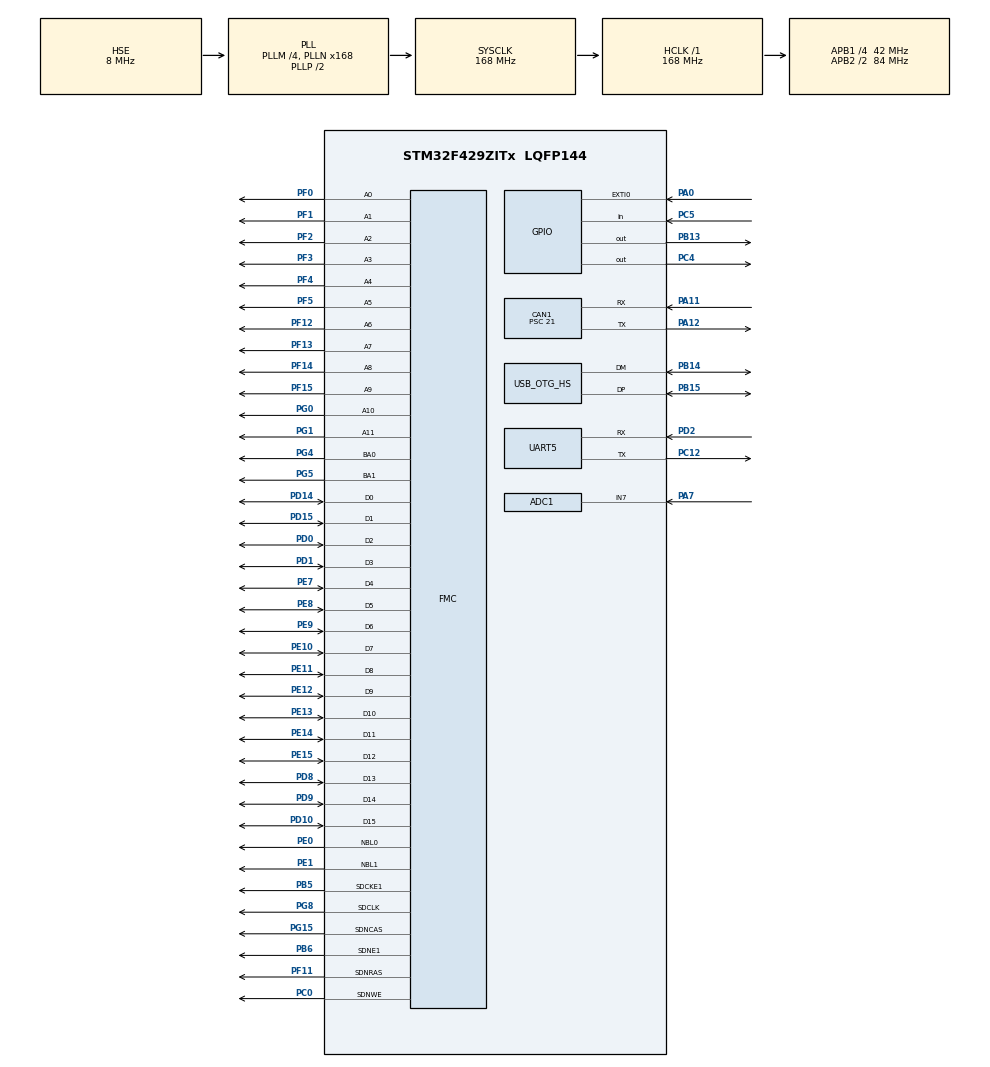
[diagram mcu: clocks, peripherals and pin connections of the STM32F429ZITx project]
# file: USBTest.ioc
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ADC1.Channel-0\#ChannelRegularConversion=ADC_CHANNEL_7
ADC1.ContinuousConvMode=ENABLE
ADC1.DMAContinuousRequests=ENABLE
ADC1.NbrOfConversionFlag=1
ADC1.Rank-0\#ChannelRegularConversion=1
ADC1.SamplingTime-0\#ChannelRegularConversion=ADC_SAMPLETIME_28CYCLES
ADC1.master=1
CAN1.BS1=CAN_BS1_6TQ
CAN1.CalculateBaudRate=250000
CAN1.CalculateTimeBit=4000.00
CAN1.CalculateTimeQuantum=500.0
CAN1.Prescaler=21
Dma.ADC1.0.Direction=DMA_PERIPH_TO_MEMORY
Dma.ADC1.0.FIFOMode=DMA_FIFOMODE_DISABLE
Dma.ADC1.0.Instance=DMA2_Stream0
Dma.ADC1.0.MemDataAlignment=DMA_MDATAALIGN_HALFWORD
Dma.ADC1.0.MemInc=DMA_MINC_ENABLE
Dma.ADC1.0.Mode=DMA_CIRCULAR
Dma.ADC1.0.PeriphDataAlignment=DMA_PDATAALIGN_HALFWORD
Dma.ADC1.0.PeriphInc=DMA_PINC_DISABLE
Dma.ADC1.0.Priority=DMA_PRIORITY_LOW
Dma.Request0=ADC1
FATFS._MAX_SS=512
FMC.CASLatency1=FMC_SDRAM_CAS_LATENCY_3
FMC.ExitSelfRefreshDelay1=7
FMC.LoadToActiveDelay1=2
FMC.RCDDelay1=2
FMC.RPDelay1=2
FMC.ReadPipeDelay1=FMC_SDRAM_RPIPE_DELAY_1
FMC.RowCycleDelay1=6
FMC.SDClockPeriod1=FMC_SDRAM_CLOCK_PERIOD_2
FMC.SelfRefreshTime1=4
FMC.WriteRecoveryTime1=2
Mcu.Family=STM32F4
Mcu.Name=STM32F429ZITx
Mcu.Package=LQFP144
NVIC.CAN1_RX0_IRQn=true\:0\:0\:false\:false\:true\:true\:true
NVIC.DMA2_Stream0_IRQn=true\:0\:0\:false\:false\:true\:false\:true
NVIC.EXTI0_IRQn=true\:0\:0\:false\:false\:true\:true\:true
NVIC.OTG_HS_IRQn=true\:0\:0\:false\:false\:true\:false\:true
NVIC.PriorityGroup=NVIC_PRIORITYGROUP_4
NVIC.TIM7_IRQn=true\:0\:0\:false\:false\:true\:true\:true
PA0/WKUP.Signal=GPXTI0
PA11.Mode=CAN_Activate
PA11.Signal=CAN1_RX
PA12.Mode=CAN_Activate
PA12.Signal=CAN1_TX
PA7.Signal=ADCx_IN7
PB13.Signal=GPIO_Output
PB14.Mode=Host_FS
PB14.Signal=USB_OTG_HS_DM
PB15.Mode=Host_FS
PB15.Signal=USB_OTG_HS_DP
PB5.Mode=SdramChipSelect2_1
PB5.Signal=FMC_SDCKE1
PB6.Mode=SdramChipSelect2_1
PB6.Signal=FMC_SDNE1
PC0.Signal=FMC_SDNWE
PC12.Mode=Asynchronous
PC12.Signal=UART5_TX
PC14/OSC32_IN.Mode=LSE-External-Oscillator
PC14/OSC32_IN.Signal=RCC_OSC32_IN
PC15/OSC32_OUT.Mode=LSE-External-Oscillator
PC15/OSC32_OUT.Signal=RCC_OSC32_OUT
PC4.Signal=GPIO_Output
PC5.Signal=GPIO_Input
PD0.Signal=FMC_D2_DA2
PD1.Signal=FMC_D3_DA3
PD10.Signal=FMC_D15_DA15
PD14.Signal=FMC_D0_DA0
PD15.Signal=FMC_D1_DA1
PD2.Mode=Asynchronous
PD2.Signal=UART5_RX
PD8.Signal=FMC_D13_DA13
PD9.Signal=FMC_D14_DA14
PE0.Signal=FMC_NBL0
PE1.Signal=FMC_NBL1
PE10.Signal=FMC_D7_DA7
PE11.Signal=FMC_D8_DA8
PE12.Signal=FMC_D9_DA9
PE13.Signal=FMC_D10_DA10
PE14.Signal=FMC_D11_DA11
PE15.Signal=FMC_D12_DA12
PE7.Signal=FMC_D4_DA4
PE8.Signal=FMC_D5_DA5
PE9.Signal=FMC_D6_DA6
PF0.Signal=FMC_A0
PF1.Signal=FMC_A1
PF11.Signal=FMC_SDNRAS
PF12.Signal=FMC_A6
PF13.Signal=FMC_A7
PF14.Signal=FMC_A8
PF15.Signal=FMC_A9
PF2.Signal=FMC_A2
PF3.Signal=FMC_A3
PF4.Signal=FMC_A4
PF5.Signal=FMC_A5
PG0.Signal=FMC_A10
PG1.Signal=FMC_A11
PG15.Signal=FMC_SDNCAS
PG4.Signal=FMC_A14_BA0
PG5.Signal=FMC_A15_BA1
PG8.Signal=FMC_SDCLK
PH0/OSC_IN.Mode=HSE-External-Oscillator
PH0/OSC_IN.Signal=RCC_OSC_IN
PH1/OSC_OUT.Mode=HSE-External-Oscillator
PH1/OSC_OUT.Signal=RCC_OSC_OUT
ProjectManager.HeapSize=0x400
ProjectManager.StackSize=0x800
ProjectManager.TargetToolchain=STM32CubeIDE
RCC.48MHZClocksFreq_Value=48000000
RCC.AHBFreq_Value=168000000
RCC.APB1CLKDivider=RCC_HCLK_DIV4
RCC.APB1Freq_Value=42000000
RCC.APB1TimFreq_Value=84000000
RCC.APB2CLKDivider=RCC_HCLK_DIV2
RCC.APB2Freq_Value=84000000
RCC.APB2TimFreq_Value=168000000
RCC.CortexFreq_Value=168000000
RCC.HCLKFreq_Value=168000000
RCC.HSE_VALUE=8000000
RCC.HSI_VALUE=16000000
RCC.PLLM=4
RCC.PLLN=168
RCC.PLLQ=7
RCC.SYSCLKFreq_VALUE=168000000
RCC.SYSCLKSource=RCC_SYSCLKSOURCE_PLLCLK
RCC.VCOOutputFreq_Value=336000000
SH.ADCx_IN7.0=ADC1_IN7,IN7
SH.FMC_A0.0=FMC_A0,12b-sda1
SH.FMC_A1.0=FMC_A1,12b-sda1
SH.FMC_A10.0=FMC_A10,12b-sda1
SH.FMC_A11.0=FMC_A11,12b-sda1
SH.FMC_A14_BA0.0=FMC_BA0,FourSdramBanks1
SH.FMC_A15_BA1.0=FMC_BA1,FourSdramBanks1
SH.FMC_A2.0=FMC_A2,12b-sda1
SH.FMC_A3.0=FMC_A3,12b-sda1
SH.FMC_A4.0=FMC_A4,12b-sda1
SH.FMC_A5.0=FMC_A5,12b-sda1
SH.FMC_A6.0=FMC_A6,12b-sda1
SH.FMC_A7.0=FMC_A7,12b-sda1
SH.FMC_A8.0=FMC_A8,12b-sda1
SH.FMC_A9.0=FMC_A9,12b-sda1
SH.FMC_D0_DA0.0=FMC_D0,sd-16b-d1
SH.FMC_D10_DA10.0=FMC_D10,sd-16b-d1
SH.FMC_D11_DA11.0=FMC_D11,sd-16b-d1
SH.FMC_D12_DA12.0=FMC_D12,sd-16b-d1
SH.FMC_D13_DA13.0=FMC_D13,sd-16b-d1
SH.FMC_D14_DA14.0=FMC_D14,sd-16b-d1
SH.FMC_D15_DA15.0=FMC_D15,sd-16b-d1
SH.FMC_D1_DA1.0=FMC_D1,sd-16b-d1
SH.FMC_D2_DA2.0=FMC_D2,sd-16b-d1
SH.FMC_D3_DA3.0=FMC_D3,sd-16b-d1
SH.FMC_D4_DA4.0=FMC_D4,sd-16b-d1
SH.FMC_D5_DA5.0=FMC_D5,sd-16b-d1
SH.FMC_D6_DA6.0=FMC_D6,sd-16b-d1
SH.FMC_D7_DA7.0=FMC_D7,sd-16b-d1
SH.FMC_D8_DA8.0=FMC_D8,sd-16b-d1
SH.FMC_D9_DA9.0=FMC_D9,sd-16b-d1
SH.FMC_NBL0.0=FMC_NBL0,Sd2ByteEnable1
SH.FMC_NBL1.0=FMC_NBL1,Sd2ByteEnable1
SH.FMC_SDCLK.0=FMC_SDCLK,12b-sda1
SH.FMC_SDNCAS.0=FMC_SDNCAS,12b-sda1
SH.FMC_SDNRAS.0=FMC_SDNRAS,12b-sda1
SH.FMC_SDNWE.0=FMC_SDNWE,12b-sda1
TIM7.Period=8499
TIM7.Prescaler=9
UART5.VirtualMode=Asynchronous
USB_HOST.BSP.number=1
USB_HOST.USBH_HandleTypeDef-MSC_HS=hUsbHostHS
USB_HOST.VirtualModeHS=Msc
USB_HOST0.BSP.STBoard=false
USB_HOST0.BSP.api=Unknown
USB_HOST0.BSP.i2caddr=0
USB_HOST0.BSP.instance=PB13
USB_HOST0.BSP.ip=GPIO
USB_HOST0.BSP.mode=Output
USB_HOST0.BSP.name=Drive_VBUS_HS
USB_HOST0.BSP.solution=PB13
USB_OTG_HS.VirtualMode-Host_FS=Host_FS
VP_FATFS_VS_USB.Mode=USB
VP_TIM7_VS_ClockSourceINT.Mode=Enable_Timer
VP_USB_HOST_VS_USB_HOST_MSC_HS.Mode=MSC_HS
board=custom

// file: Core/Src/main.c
/* USER CODE BEGIN Header */
/**
 ******************************************************************************
 * @file           : main.c
 * @brief          : Main program body
 ******************************************************************************
 * @attention
 *
 * <h2><center>&copy; Copyright (c) 2021 STMicroelectronics.
 * All rights reserved.</center></h2>
 *
 * This software component is licensed by ST under BSD 3-Clause license,
 * the "License"; You may not use this file except in compliance with the
 * License. You may obtain a copy of the License at:
 *                        opensource.org/licenses/BSD-3-Clause
 *
 ******************************************************************************
 */

#include <stdio.h>
#include <string.h>

/* USER CODE END Header */
#include "main.h"
#include "fatfs.h"
#include "usb_host.h"

/* USER CODE BEGIN PD */
#define SDRAM_FRAME_BUFFER 0xD0000000

#define SDRAM_MODEREG_BURST_LENGTH_1             ((uint16_t)0x0000)
#define SDRAM_MODEREG_BURST_LENGTH_2             ((uint16_t)0x0001)
#define SDRAM_MODEREG_BURST_LENGTH_4             ((uint16_t)0x0002)
#define SDRAM_MODEREG_BURST_LENGTH_8             ((uint16_t)0x0004)
#define SDRAM_MODEREG_BURST_TYPE_SEQUENTIAL      ((uint16_t)0x0000)
#define SDRAM_MODEREG_BURST_TYPE_INTERLEAVED     ((uint16_t)0x0008)
#define SDRAM_MODEREG_CAS_LATENCY_2              ((uint16_t)0x0020)
#define SDRAM_MODEREG_CAS_LATENCY_3              ((uint16_t)0x0030)
#define SDRAM_MODEREG_OPERATING_MODE_STANDARD    ((uint16_t)0x0000)
#define SDRAM_MODEREG_WRITEBURST_MODE_PROGRAMMED ((uint16_t)0x0000)
#define SDRAM_MODEREG_WRITEBURST_MODE_SINGLE     ((uint16_t)0x0200)

/* USER CODE END PD */

ADC_HandleTypeDef hadc1;
DMA_HandleTypeDef hdma_adc1;

CAN_HandleTypeDef hcan1;

TIM_HandleTypeDef htim7;

UART_HandleTypeDef huart5;

SDRAM_HandleTypeDef hsdram1;

void SystemClock_Config(void);
static void MX_GPIO_Init(void);
static void MX_ADC1_Init(void);
static void MX_UART5_Init(void);
static void MX_DMA_Init(void);
static void MX_TIM7_Init(void);
static void MX_CAN1_Init(void);
static void MX_FMC_Init(void);
void MX_USB_HOST_Process(void);

/* USER CODE BEGIN 0 */
int __io_putchar(int ch)
{
    if(HAL_UART_Transmit(&huart5, (uint8_t *)&ch, 1, 10) == 0)
        return ch;

    return -1;
}

extern char USBHPath[4];   /* USBH logical drive path */
extern FATFS USBHFatFS;    /* File system object for USBH logical drive */
// extern FIL USBHFile;       /* File object for USBH */
extern ApplicationTypeDef Appli_state;

int usb_mount(void)
{
    FRESULT result = f_mount(&USBHFatFS, USBHPath, 0);
    if(result != FR_OK)
    {
        printf("ERROR :: %s() : f_mount() fail\r\n", __func__);
        return -1;
    }

    printf("INFO :: %s() : mount_path = [%s]\r\n", __func__, USBHPath);
    return 0;
}

int usb_unmount(void)
{
    FRESULT result = f_mount(NULL, "", 0);
    if(result != FR_OK)
    {
        printf("ERROR :: %s() : f_mount() fail\r\n", __func__);
        return -1;
    }

    printf("INFO :: %s()\r\n", __func__);
    return 0;
}

int usb_read_background_image(uint8_t img_type, uint8_t *buf, uint32_t *length)
{
    char file_path[256] = {0, };

    FRESULT result;
    FILINFO file_info;
    FIL     fp;

    if(Appli_state != APPLICATION_READY)
    {
        printf("ERROR :: %s() : appli_state = %d\r\n", __func__, Appli_state);
        return -1;
    }

    if(img_type == 0) sprintf(file_path, "%sbg.png", USBHPath);
    else              sprintf(file_path, "%slogo.png", USBHPath);

    printf("INFO :: %s() : file_path = [%s]\r\n", __func__, file_path);
    f_stat(file_path, &file_info);
    printf("  size = %ld\r\n", file_info.fsize);
    // printf("  date = 0x%04x\r\n", file_info.fdate);
    // printf("  time = 0x%04x\r\n", file_info.ftime);
    printf("  name = [%s]\r\n", file_info.fname);

    memset(&fp, 0x00, sizeof(FIL));
    if((result = f_open(&fp, file_path, FA_READ)) != FR_OK)
    {
        printf("ERROR :: %s() : f_open() fail : result = %d, file_path = [%s]\r\n", __func__, result, file_path);
        return -1;
    }
    printf("  flag = 0x%x\r\n", fp.flag);

    if((result = f_read(&fp, buf, file_info.fsize, (UINT *)length)) != FR_OK)
    {
        printf("ERROR :: %s() : f_read() fail : result = %d\r\n", __func__, result);
        goto rtn_code;
    }
    printf("  read = %ld, fptr = %lx\r\n", *length, fp.fptr);
    for(int i = 0 ; i < 16 ; i++) printf("0x%02X, ", buf[i]);
    printf("\b\b\r\n");

rtn_code:
    if(fp.flag != 0) f_close(&fp);
    return 0;
}
/* USER CODE END 0 */

int main(void)
{

    /* MCU Configuration--------------------------------------------------------*/

    /* Reset of all peripherals, Initializes the Flash interface and the Systick. */
    HAL_Init();

    /* Configure the system clock */
    SystemClock_Config();

    /* Initialize all configured peripherals */
    MX_GPIO_Init();
    MX_ADC1_Init();
    MX_UART5_Init();
    MX_DMA_Init();
    MX_TIM7_Init();
    MX_CAN1_Init();
    MX_USB_HOST_Init();
    MX_FATFS_Init();
    MX_FMC_Init();
    /* USER CODE BEGIN 2 */

    // HAL_ADC_Start_DMA(&hadc1, (uint32_t *)&adc_val, 1);
    HAL_TIM_Base_Start_IT(&htim7);
    /* USER CODE END 2 */

    /* Infinite loop */
    /* USER CODE BEGIN WHILE */
    uint8_t is_read = 0;
    printf("USBTest start...\r\n");
    HAL_GPIO_WritePin(GPIOC, GPIO_PIN_4, GPIO_PIN_RESET);
    while (1)
    {
        /* USER CODE END WHILE */
        MX_USB_HOST_Process();

        /* USER CODE BEGIN 3 */
        // printf("state = %d\r\n", Appli_state);
        if(Appli_state == APPLICATION_READY)
        {
            if(is_read == 0)
            {
                uint8_t *buff   = (uint8_t *)0xD0000000;
                uint32_t length = 0;

                usb_read_background_image(0, buff, &length);
                is_read = 1;
            }
        }
        HAL_Delay(100);
    }
    /* USER CODE END 3 */
}

void SystemClock_Config(void)
{
    RCC_OscInitTypeDef RCC_OscInitStruct = {0};
    RCC_ClkInitTypeDef RCC_ClkInitStruct = {0};

    /** Configure the main internal regulator output voltage
    */
    __HAL_RCC_PWR_CLK_ENABLE();
    __HAL_PWR_VOLTAGESCALING_CONFIG(PWR_REGULATOR_VOLTAGE_SCALE1);
    /** Initializes the RCC Oscillators according to the specified parameters
     * in the RCC_OscInitTypeDef structure.
     */
    RCC_OscInitStruct.OscillatorType = RCC_OSCILLATORTYPE_HSE;
    RCC_OscInitStruct.HSEState = RCC_HSE_ON;
    RCC_OscInitStruct.PLL.PLLState = RCC_PLL_ON;
    RCC_OscInitStruct.PLL.PLLSource = RCC_PLLSOURCE_HSE;
    RCC_OscInitStruct.PLL.PLLM = 4;
    RCC_OscInitStruct.PLL.PLLN = 168;
    RCC_OscInitStruct.PLL.PLLP = RCC_PLLP_DIV2;
    RCC_OscInitStruct.PLL.PLLQ = 7;
    if (HAL_RCC_OscConfig(&RCC_OscInitStruct) != HAL_OK)
    {
        Error_Handler();
    }
    /** Initializes the CPU, AHB and APB buses clocks
    */
    RCC_ClkInitStruct.ClockType = RCC_CLOCKTYPE_HCLK|RCC_CLOCKTYPE_SYSCLK
        |RCC_CLOCKTYPE_PCLK1|RCC_CLOCKTYPE_PCLK2;
    RCC_ClkInitStruct.SYSCLKSource = RCC_SYSCLKSOURCE_PLLCLK;
    RCC_ClkInitStruct.AHBCLKDivider = RCC_SYSCLK_DIV1;
    RCC_ClkInitStruct.APB1CLKDivider = RCC_HCLK_DIV4;
    RCC_ClkInitStruct.APB2CLKDivider = RCC_HCLK_DIV2;

    if (HAL_RCC_ClockConfig(&RCC_ClkInitStruct, FLASH_LATENCY_5) != HAL_OK)
    {
        Error_Handler();
    }
}

static void MX_ADC1_Init(void)
{

    ADC_ChannelConfTypeDef sConfig = {0};

    /** Configure the global features of the ADC (Clock, Resolution, Data Alignment and number of conversion)
    */
    hadc1.Instance = ADC1;
    hadc1.Init.ClockPrescaler = ADC_CLOCK_SYNC_PCLK_DIV4;
    hadc1.Init.Resolution = ADC_RESOLUTION_12B;
    hadc1.Init.ScanConvMode = DISABLE;
    hadc1.Init.ContinuousConvMode = ENABLE;
    hadc1.Init.DiscontinuousConvMode = DISABLE;
    hadc1.Init.ExternalTrigConvEdge = ADC_EXTERNALTRIGCONVEDGE_NONE;
    hadc1.Init.ExternalTrigConv = ADC_SOFTWARE_START;
    hadc1.Init.DataAlign = ADC_DATAALIGN_RIGHT;
    hadc1.Init.NbrOfConversion = 1;
    hadc1.Init.DMAContinuousRequests = ENABLE;
    hadc1.Init.EOCSelection = ADC_EOC_SINGLE_CONV;
    if (HAL_ADC_Init(&hadc1) != HAL_OK)
    {
        Error_Handler();
    }
    /** Configure for the selected ADC regular channel its corresponding rank in the sequencer and its sample time.
    */
    sConfig.Channel = ADC_CHANNEL_7;
    sConfig.Rank = 1;
    sConfig.SamplingTime = ADC_SAMPLETIME_28CYCLES;
    if (HAL_ADC_ConfigChannel(&hadc1, &sConfig) != HAL_OK)
    {
        Error_Handler();
    }

}

static void MX_CAN1_Init(void)
{

    hcan1.Instance = CAN1;
    hcan1.Init.Prescaler = 21;
    hcan1.Init.Mode = CAN_MODE_NORMAL;
    hcan1.Init.SyncJumpWidth = CAN_SJW_1TQ;
    hcan1.Init.TimeSeg1 = CAN_BS1_6TQ;
    hcan1.Init.TimeSeg2 = CAN_BS2_1TQ;
    hcan1.Init.TimeTriggeredMode = DISABLE;
    hcan1.Init.AutoBusOff = DISABLE;
    hcan1.Init.AutoWakeUp = DISABLE;
    hcan1.Init.AutoRetransmission = DISABLE;
    hcan1.Init.ReceiveFifoLocked = DISABLE;
    hcan1.Init.TransmitFifoPriority = DISABLE;
    if (HAL_CAN_Init(&hcan1) != HAL_OK)
    {
        Error_Handler();
    }

}

static void MX_TIM7_Init(void)
{

    TIM_MasterConfigTypeDef sMasterConfig = {0};

    htim7.Instance = TIM7;
    htim7.Init.Prescaler = 9;
    htim7.Init.CounterMode = TIM_COUNTERMODE_UP;
    htim7.Init.Period = 8499;
    htim7.Init.AutoReloadPreload = TIM_AUTORELOAD_PRELOAD_DISABLE;
    if (HAL_TIM_Base_Init(&htim7) != HAL_OK)
    {
        Error_Handler();
    }
    sMasterConfig.MasterOutputTrigger = TIM_TRGO_RESET;
    sMasterConfig.MasterSlaveMode = TIM_MASTERSLAVEMODE_DISABLE;
    if (HAL_TIMEx_MasterConfigSynchronization(&htim7, &sMasterConfig) != HAL_OK)
    {
        Error_Handler();
    }

}

static void MX_UART5_Init(void)
{

    huart5.Instance = UART5;
    huart5.Init.BaudRate = 115200;
    huart5.Init.WordLength = UART_WORDLENGTH_8B;
    huart5.Init.StopBits = UART_STOPBITS_1;
    huart5.Init.Parity = UART_PARITY_NONE;
    huart5.Init.Mode = UART_MODE_TX_RX;
    huart5.Init.HwFlowCtl = UART_HWCONTROL_NONE;
    huart5.Init.OverSampling = UART_OVERSAMPLING_16;
    if (HAL_UART_Init(&huart5) != HAL_OK)
    {
        Error_Handler();
    }

}

static void MX_DMA_Init(void)
{

    /* DMA controller clock enable */
    __HAL_RCC_DMA2_CLK_ENABLE();

    /* DMA interrupt init */
    /* DMA2_Stream0_IRQn interrupt configuration */
    HAL_NVIC_SetPriority(DMA2_Stream0_IRQn, 0, 0);
    HAL_NVIC_EnableIRQ(DMA2_Stream0_IRQn);

}

/* FMC initialization function */
static void MX_FMC_Init(void)
{

    FMC_SDRAM_TimingTypeDef SdramTiming = {0};

    /** Perform the SDRAM1 memory initialization sequence
    */
    hsdram1.Instance = FMC_SDRAM_DEVICE;
    /* hsdram1.Init */
    hsdram1.Init.SDBank = FMC_SDRAM_BANK2;
    hsdram1.Init.ColumnBitsNumber = FMC_SDRAM_COLUMN_BITS_NUM_8;
    hsdram1.Init.RowBitsNumber = FMC_SDRAM_ROW_BITS_NUM_12;
    hsdram1.Init.MemoryDataWidth = FMC_SDRAM_MEM_BUS_WIDTH_16;
    hsdram1.Init.InternalBankNumber = FMC_SDRAM_INTERN_BANKS_NUM_4;
    hsdram1.Init.CASLatency = FMC_SDRAM_CAS_LATENCY_3;
    hsdram1.Init.WriteProtection = FMC_SDRAM_WRITE_PROTECTION_DISABLE;
    hsdram1.Init.SDClockPeriod = FMC_SDRAM_CLOCK_PERIOD_2;
    hsdram1.Init.ReadBurst = FMC_SDRAM_RBURST_DISABLE;
    hsdram1.Init.ReadPipeDelay = FMC_SDRAM_RPIPE_DELAY_1;
    /* SdramTiming */
    SdramTiming.LoadToActiveDelay = 2;
    SdramTiming.ExitSelfRefreshDelay = 7;
    SdramTiming.SelfRefreshTime = 4;
    SdramTiming.RowCycleDelay = 6;
    SdramTiming.WriteRecoveryTime = 2;
    SdramTiming.RPDelay = 2;
    SdramTiming.RCDDelay = 2;

    if (HAL_SDRAM_Init(&hsdram1, &SdramTiming) != HAL_OK)
    {
        Error_Handler( );
    }

    /* USER CODE BEGIN FMC_Init 2 */
    else
    {
        __IO uint32_t tmpmrd =0;
        FMC_SDRAM_CommandTypeDef Command;

        /* Step 1:  Configure a clock configuration enable command */
        Command.CommandMode             = FMC_SDRAM_CMD_CLK_ENABLE;
        Command.CommandTarget           = FMC_SDRAM_CMD_TARGET_BANK2;
        Command.AutoRefreshNumber       = 1;
        Command.ModeRegisterDefinition  = 0;

        /* Send the command */
        HAL_SDRAM_SendCommand(&hsdram1, &Command, 0x1000);

        /* Step 2: Insert 100 us minimum delay */
        /* Inserted delay is equal to 1 ms due to systick time base unit (ms) */
        HAL_Delay(100);

        /* Step 3: Configure a PALL (precharge all) command */
        Command.CommandMode             = FMC_SDRAM_CMD_PALL;
        Command.CommandTarget           = FMC_SDRAM_CMD_TARGET_BANK2;
        Command.AutoRefreshNumber       = 1;
        Command.ModeRegisterDefinition  = 0;

        /* Send the command */
        HAL_SDRAM_SendCommand(&hsdram1, &Command, 0x1000);

        /* Step 4: Configure an Auto Refresh command */
        Command.CommandMode             = FMC_SDRAM_CMD_AUTOREFRESH_MODE;
        Command.CommandTarget           = FMC_SDRAM_CMD_TARGET_BANK2;
        Command.AutoRefreshNumber       = 4;
        Command.ModeRegisterDefinition  = 0;

        /* Send the command */
        HAL_SDRAM_SendCommand(&hsdram1, &Command, 0x1000);

        /* Step 5: Program the external memory mode register */
        tmpmrd = (uint32_t)SDRAM_MODEREG_BURST_LENGTH_1          |
            SDRAM_MODEREG_BURST_TYPE_SEQUENTIAL   |
            SDRAM_MODEREG_CAS_LATENCY_3           |
            SDRAM_MODEREG_OPERATING_MODE_STANDARD |
            SDRAM_MODEREG_WRITEBURST_MODE_SINGLE;

        Command.CommandMode             = FMC_SDRAM_CMD_LOAD_MODE;
        Command.CommandTarget           = FMC_SDRAM_CMD_TARGET_BANK2;
        Command.AutoRefreshNumber       = 1;
        Command.ModeRegisterDefinition  = tmpmrd;

        /* Send the command */
        HAL_SDRAM_SendCommand(&hsdram1, &Command, 0x1000);

        /* Step 6: Set the refresh rate counter */
        /**
         *
         * Set the device refresh rate
         *
         *  refresh rate  = refresh period / number of rows
         *  refresh rate  = 64ms / 4096 = 15.62us
         *  refresh count = (refresh rate x SDRAM clock frequency) - 20
         *  refresh count = 15.62us x 90MHz - 20 = 1385.xx
         *
         */
        HAL_SDRAM_ProgramRefreshRate(&hsdram1, 1386);
    }

    /* USER CODE END FMC_Init 2 */
}

static void MX_GPIO_Init(void)
{
    GPIO_InitTypeDef GPIO_InitStruct = {0};

    /* GPIO Ports Clock Enable */
    __HAL_RCC_GPIOC_CLK_ENABLE();
    __HAL_RCC_GPIOF_CLK_ENABLE();
    __HAL_RCC_GPIOH_CLK_ENABLE();
    __HAL_RCC_GPIOA_CLK_ENABLE();
    __HAL_RCC_GPIOG_CLK_ENABLE();
    __HAL_RCC_GPIOE_CLK_ENABLE();
    __HAL_RCC_GPIOB_CLK_ENABLE();
    __HAL_RCC_GPIOD_CLK_ENABLE();

    /*Configure GPIO pin Output Level */
    HAL_GPIO_WritePin(GPIOC, GPIO_PIN_4, GPIO_PIN_RESET);

    /*Configure GPIO pin Output Level */
    HAL_GPIO_WritePin(GPIOB, GPIO_PIN_13, GPIO_PIN_RESET);

    /*Configure GPIO pin : PA0 */
    GPIO_InitStruct.Pin = GPIO_PIN_0;
    GPIO_InitStruct.Mode = GPIO_MODE_IT_RISING;
    GPIO_InitStruct.Pull = GPIO_NOPULL;
    HAL_GPIO_Init(GPIOA, &GPIO_InitStruct);

    /*Configure GPIO pin : PC4 */
    GPIO_InitStruct.Pin = GPIO_PIN_4;
    GPIO_InitStruct.Mode = GPIO_MODE_OUTPUT_PP;
    GPIO_InitStruct.Pull = GPIO_NOPULL;
    GPIO_InitStruct.Speed = GPIO_SPEED_FREQ_LOW;
    HAL_GPIO_Init(GPIOC, &GPIO_InitStruct);

    /*Configure GPIO pin : PC5 */
    GPIO_InitStruct.Pin = GPIO_PIN_5;
    GPIO_InitStruct.Mode = GPIO_MODE_INPUT;
    GPIO_InitStruct.Pull = GPIO_NOPULL;
    HAL_GPIO_Init(GPIOC, &GPIO_InitStruct);

    /*Configure GPIO pin : PB13 */
    GPIO_InitStruct.Pin = GPIO_PIN_13;
    GPIO_InitStruct.Mode = GPIO_MODE_OUTPUT_PP;
    GPIO_InitStruct.Pull = GPIO_NOPULL;
    GPIO_InitStruct.Speed = GPIO_SPEED_FREQ_LOW;
    HAL_GPIO_Init(GPIOB, &GPIO_InitStruct);

    /* EXTI interrupt init*/
    HAL_NVIC_SetPriority(EXTI0_IRQn, 0, 0);
    HAL_NVIC_EnableIRQ(EXTI0_IRQn);

}

void Error_Handler(void)
{
    __disable_irq();
    while (1)
    {
    }
}

/************************ (C) COPYRIGHT STMicroelectronics *****END OF FILE****/
